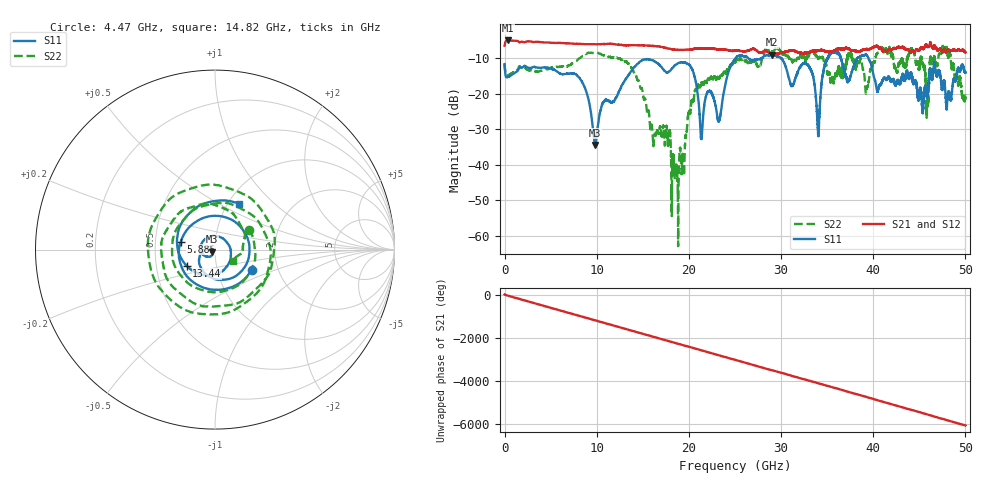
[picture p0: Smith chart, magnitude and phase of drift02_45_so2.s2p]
!Created with skrf (http://scikit-rf.org).
# Hz S RI R 50.0
!freq ReS11 ImS11 ReS21 ImS21 ReS12 ImS12 ReS22 ImS22
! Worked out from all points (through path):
!   10001 points, 300 kHz to 50 GHz, reference 50 ohm
!   highest |S21| = -5.04 dB at 390.3 MHz (marker M1); lowest = -9.0 dB at 29.05 GHz (marker M2)
!   group delay of S21, straight-line fit = 336 ps
!   lowest |S11| = -34.5 dB at 9.84 GHz (marker M3), VSWR 1.04, Z = 48.5 - j1.05 ohm
!   |S11| at or under -10 dB: start of sweep to 25.08 GHz; 29.97 GHz to 35.06 GHz (5.084 GHz wide, 15.6 % of centre); 39.47 GHz to end of sweep (the widest 3 of 7)
!   |S22| runs from -62.9 to -6.5 dB; largest |S21 - S12| = 0.022
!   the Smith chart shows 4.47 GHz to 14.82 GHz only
!   S11 on the Smith chart (normalised r, x): 4.47 GHz: 1.46, -0.35; 5.885 GHz: 0.68, +0.06; 13.44 GHz: 0.72, -0.14; 14.82 GHz: 1.13, +0.63
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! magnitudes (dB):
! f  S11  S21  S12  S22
! 300 kHz  -11.7  -6.5  -6.4  -11.6
! 390.3 MHz  -15.3  -5.0  -5.0  -14.9
! 4.47 GHz  -12.7  -5.6  -5.6  -13.2
! 5.885 GHz  -14.2  -5.7  -5.7  -12.5
! 8.335 GHz  -16.4  -6.0  -6.0  -9.6
! 9.84 GHz  -34.5  -6.1  -6.1  -8.5
! 13.44 GHz  -14.8  -6.4  -6.4  -11.6
! 14.82 GHz  -10.8  -6.4  -6.4  -18.5
! 16.67 GHz  -11.6  -6.7  -6.7  -31.0
! 18.67 GHz  -11.8  -7.7  -7.7  -40.8
! 20.37 GHz  -13.3  -7.5  -7.5  -22.0
! 21.37 GHz  -32.2  -7.2  -7.3  -16.9
! 23.31 GHz  -27.3  -7.5  -7.6  -15.7
! 25 GHz  -10.3  -7.9  -7.9  -11.2
! 29.05 GHz  -9.1  -9.0  -9.0  -8.2
! 33.34 GHz  -14.0  -8.1  -8.2  -8.0
! 34.02 GHz  -31.7  -7.9  -7.9  -10.3
! 35.52 GHz  -8.5  -8.2  -8.1  -15.7
! 41.67 GHz  -15.4  -7.7  -7.8  -7.4
! 45.87 GHz  -20.3  -6.8  -6.9  -23.2
! 47.76 GHz  -17.3  -7.5  -7.5  -7.4
! 50 GHz  -14.1  -8.4  -8.4  -20.3
